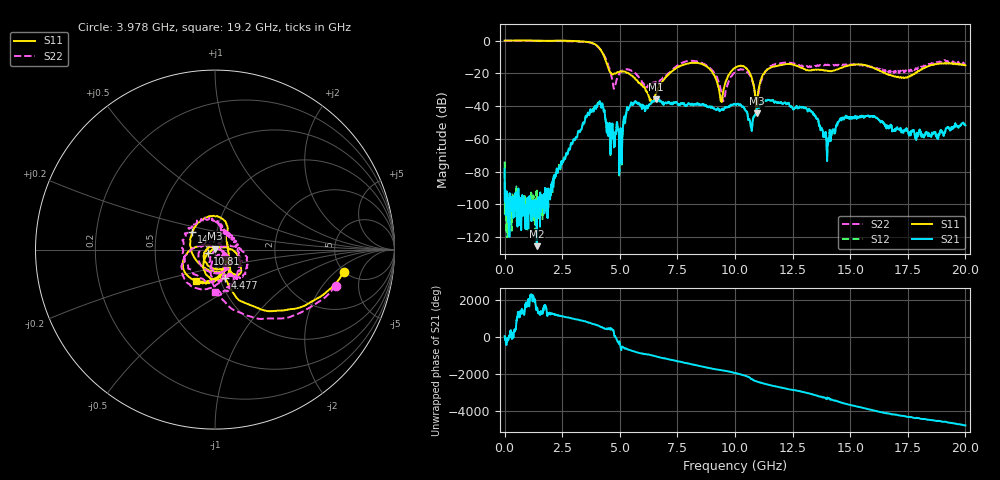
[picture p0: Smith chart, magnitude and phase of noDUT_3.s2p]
#  HZ  S  RI  R  50.00
! Rohde & Schwarz Vector Network Analyzer
! Rohde-Schwarz,ZNB20-2Port,1311601062102128,3.60
! Created: UTC 4/29/2024, 2:41:59 PM
! freq[Hz]  re:S11  im:S11  re:S21  im:S21  re:S12  im:S12  re:S22  im:S22
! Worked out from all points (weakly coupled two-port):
!   2007 points, 100 kHz to 20 GHz, reference 50 ohm
!   highest |S21| = -35.81 dB at 6.58 GHz (marker M1); lowest = -125.5 dB at 1.396 GHz (marker M2)
!   lowest |S11| = -44.4 dB at 10.94 GHz (marker M3), VSWR 1.01, Z = 49.8 + j0.582 ohm
!   |S11| at or under -10 dB: 4.332 GHz to end of sweep
!   |S22| runs from -43.9 to 0.1 dB; largest |S21 - S12| = 0.00089
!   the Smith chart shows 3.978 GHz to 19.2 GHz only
!   S11 on the Smith chart (normalised r, x): 3.978 GHz: 4.89, -2.63; 4.477 GHz: 1.07, -0.34; 10.81 GHz: 0.92, -0.04; 14.75 GHz: 0.76, +0.15; 19.2 GHz: 0.76, -0.28
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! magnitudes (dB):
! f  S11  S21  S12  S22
! 100 kHz  0.0  -78.4  -73.8  0.1
! 1.396 GHz  -0.1  -125.5  -91.6  -0.1
! 2.323 GHz  -0.1  -78.7  -79.6  -0.3
! 3.34 GHz  -0.6  -54.2  -53.9  -0.6
! 3.978 GHz  -2.8  -40.8  -41.1  -3.1
! 4.477 GHz  -15.6  -55.2  -55.1  -14.0
! 5.035 GHz  -18.6  -53.4  -53.3  -18.9
! 5.414 GHz  -20.2  -40.8  -40.8  -17.7
! 6.58 GHz  -32.1  -35.8  -35.8  -25.5
! 6.67 GHz  -28.7  -36.7  -36.7  -24.9
! 8.365 GHz  -13.6  -38.4  -38.5  -12.8
! 9.412 GHz  -37.3  -42.0  -42.0  -31.8
! 10 GHz  -16.7  -38.8  -38.8  -19.3
! 10.81 GHz  -26.9  -46.6  -46.6  -27.1
! 10.94 GHz  -44.4  -42.1  -42.1  -43.2
! 11.6 GHz  -16.2  -36.4  -36.5  -15.4
! 13.34 GHz  -18.1  -43.8  -43.7  -15.6
! 13.99 GHz  -18.4  -69.4  -69.0  -14.9
! 14.75 GHz  -15.9  -47.3  -47.4  -15.0
! 16.67 GHz  -20.9  -53.6  -53.7  -19.5
! 19.2 GHz  -13.8  -53.2  -53.4  -12.6
! 20 GHz  -15.2  -51.7  -51.8  -14.2
